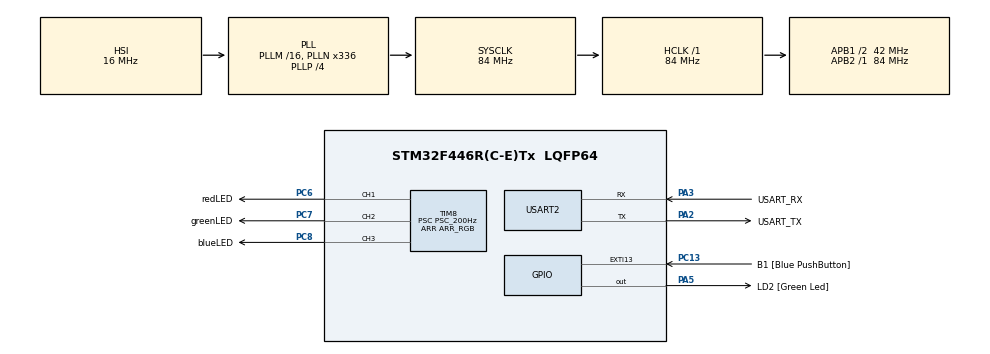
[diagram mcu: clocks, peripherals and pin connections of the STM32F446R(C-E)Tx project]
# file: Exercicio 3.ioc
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Mcu.Family=STM32F4
Mcu.Name=STM32F446R(C-E)Tx
Mcu.Package=LQFP64
Mcu.UserConstants=PSC_5Hz,(65536-1);PSC_200Hz,(1647-1);ARR_RGB,(255-1);PSC_SMPL,(1000-1);ARR_SMPL,(840-1)
NVIC.PriorityGroup=NVIC_PRIORITYGROUP_0
NVIC.TIM1_UP_TIM10_IRQn=true\:0\:0\:false\:false\:true\:true\:true\:true
NVIC.USART2_IRQn=true\:0\:0\:false\:false\:true\:true\:true\:true
PA13.GPIO_Label=TMS
PA13.Mode=Serial_Wire
PA13.Signal=SYS_JTMS-SWDIO
PA14.GPIO_Label=TCK
PA14.Mode=Serial_Wire
PA14.Signal=SYS_JTCK-SWCLK
PA2.GPIO_Label=USART_TX
PA2.Mode=Asynchronous
PA2.Signal=USART2_TX
PA3.GPIO_Label=USART_RX
PA3.Mode=Asynchronous
PA3.Signal=USART2_RX
PA5.GPIO_Label=LD2 [Green Led]
PA5.Signal=GPIO_Output
PB3.GPIO_Label=SWO
PB3.Signal=SYS_JTDO-SWO
PC13.GPIO_Label=B1 [Blue PushButton]
PC13.GPIO_ModeDefaultEXTI=GPIO_MODE_IT_FALLING
PC13.Signal=GPXTI13
PC14-OSC32_IN.Mode=LSE-External-Oscillator
PC14-OSC32_IN.Signal=RCC_OSC32_IN
PC15-OSC32_OUT.Mode=LSE-External-Oscillator
PC15-OSC32_OUT.Signal=RCC_OSC32_OUT
PC6.GPIO_Label=redLED
PC6.Signal=S_TIM8_CH1
PC7.GPIO_Label=greenLED
PC7.Signal=S_TIM8_CH2
PC8.GPIO_Label=blueLED
PC8.Signal=S_TIM8_CH3
PH0-OSC_IN.Mode=HSE-External-Oscillator
PH0-OSC_IN.Signal=RCC_OSC_IN
PH1-OSC_OUT.Mode=HSE-External-Oscillator
PH1-OSC_OUT.Signal=RCC_OSC_OUT
ProjectManager.HeapSize=0x200
ProjectManager.StackSize=0x400
ProjectManager.TargetToolchain=STM32CubeIDE
RCC.48MHZClocksFreq_Value=84000000
RCC.AHBFreq_Value=84000000
RCC.APB1CLKDivider=RCC_HCLK_DIV2
RCC.APB1Freq_Value=42000000
RCC.APB1TimFreq_Value=84000000
RCC.APB2Freq_Value=84000000
RCC.APB2TimFreq_Value=84000000
RCC.CortexFreq_Value=84000000
RCC.FLatency-AdvancedSettings=FLASH_LATENCY_2
RCC.HCLKFreq_Value=84000000
RCC.HSE_VALUE=8000000
RCC.HSI_VALUE=16000000
RCC.PLLN=336
RCC.PLLP=RCC_PLLP_DIV4
RCC.SYSCLKFreq_VALUE=84000000
RCC.SYSCLKSource=RCC_SYSCLKSOURCE_PLLCLK
RCC.USBFreq_Value=168000000
RCC.VCOOutputFreq_Value=336000000
SH.S_TIM8_CH1.0=TIM8_CH1,PWM Generation1 CH1
SH.S_TIM8_CH2.0=TIM8_CH2,PWM Generation2 CH2
SH.S_TIM8_CH3.0=TIM8_CH3,PWM Generation3 CH3
TIM10.AutoReloadPreload=TIM_AUTORELOAD_PRELOAD_ENABLE
TIM10.Period=ARR_SMPL
TIM10.Prescaler=PSC_SMPL
TIM8.AutoReloadPreload=TIM_AUTORELOAD_PRELOAD_ENABLE
TIM8.Channel-PWM\ Generation1\ CH1=TIM_CHANNEL_1
TIM8.Channel-PWM\ Generation2\ CH2=TIM_CHANNEL_2
TIM8.Channel-PWM\ Generation3\ CH3=TIM_CHANNEL_3
TIM8.Period=ARR_RGB
TIM8.Prescaler=PSC_200Hz
TIM8.Pulse-PWM\ Generation1\ CH1=0
TIM8.Pulse-PWM\ Generation2\ CH2=0
TIM8.Pulse-PWM\ Generation3\ CH3=0
USART2.VirtualMode=VM_ASYNC
VP_TIM10_VS_ClockSourceINT.Mode=Enable_Timer
board=NUCLEO-F446RE

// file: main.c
/* USER CODE BEGIN Header */
/**
  ******************************************************************************
  * @file           : main.c
  * @brief          : Main program body
  ******************************************************************************
  * @attention
  *
  * Copyright (c) 2025 STMicroelectronics.
  * All rights reserved.
  *
  * This software is licensed under terms that can be found in the LICENSE file
  * in the root directory of this software component.
  * If no LICENSE file comes with this software, it is provided AS-IS.
  *
  ******************************************************************************
  */
/* USER CODE END Header */
#include "main.h"

/* USER CODE BEGIN Includes */
#include <math.h>
/* USER CODE END Includes */

/* USER CODE BEGIN PD */
#define greenFrequencyCoeficient 1.1
#define blueFrequencyCoeficient 0.8
/* USER CODE END PD */

TIM_HandleTypeDef htim8;
TIM_HandleTypeDef htim10;

UART_HandleTypeDef huart2;

/* USER CODE BEGIN PV */
unsigned int time=0;	//counts time in centi-seconds (cs)

int updateFlag=0;
/* USER CODE END PV */

void SystemClock_Config(void);
static void MX_GPIO_Init(void);
static void MX_USART2_UART_Init(void);
static void MX_TIM8_Init(void);
static void MX_TIM10_Init(void);
/* USER CODE BEGIN PFP */
void HAL_TIM_PeriodElapsedCallback(TIM_HandleTypeDef *htim);
void updateIntensities();
uint16_t intensityFunc(char colour);
/* USER CODE END PFP */

int main(void)
{

  /* MCU Configuration--------------------------------------------------------*/

  /* Reset of all peripherals, Initializes the Flash interface and the Systick. */
  HAL_Init();

  /* Configure the system clock */
  SystemClock_Config();

  /* Initialize all configured peripherals */
  MX_GPIO_Init();
  MX_USART2_UART_Init();
  MX_TIM8_Init();
  MX_TIM10_Init();
  /* USER CODE BEGIN 2 */
  HAL_TIM_Base_Start_IT(&htim10);	//start 10ms TIM10

  //start PWMs
  HAL_TIM_PWM_Start(&htim8, TIM_CHANNEL_1);
  HAL_TIM_PWM_Start(&htim8, TIM_CHANNEL_2);
  HAL_TIM_PWM_Start(&htim8, TIM_CHANNEL_3);
  /* USER CODE END 2 */

  /* Infinite loop */
  /* USER CODE BEGIN WHILE */
  while (1)
  {
	  while(!updateFlag);	//wait TIM10 flag

	  updateIntensities();

	  updateFlag = 0;	//restart flag
    /* USER CODE END WHILE */

  }
}

void SystemClock_Config(void)
{
  RCC_OscInitTypeDef RCC_OscInitStruct = {0};
  RCC_ClkInitTypeDef RCC_ClkInitStruct = {0};

  /** Configure the main internal regulator output voltage
  */
  __HAL_RCC_PWR_CLK_ENABLE();
  __HAL_PWR_VOLTAGESCALING_CONFIG(PWR_REGULATOR_VOLTAGE_SCALE3);

  /** Initializes the RCC Oscillators according to the specified parameters
  * in the RCC_OscInitTypeDef structure.
  */
  RCC_OscInitStruct.OscillatorType = RCC_OSCILLATORTYPE_HSI;
  RCC_OscInitStruct.HSIState = RCC_HSI_ON;
  RCC_OscInitStruct.HSICalibrationValue = RCC_HSICALIBRATION_DEFAULT;
  RCC_OscInitStruct.PLL.PLLState = RCC_PLL_ON;
  RCC_OscInitStruct.PLL.PLLSource = RCC_PLLSOURCE_HSI;
  RCC_OscInitStruct.PLL.PLLM = 16;
  RCC_OscInitStruct.PLL.PLLN = 336;
  RCC_OscInitStruct.PLL.PLLP = RCC_PLLP_DIV4;
  RCC_OscInitStruct.PLL.PLLQ = 2;
  RCC_OscInitStruct.PLL.PLLR = 2;
  if (HAL_RCC_OscConfig(&RCC_OscInitStruct) != HAL_OK)
  {
    Error_Handler();
  }

  /** Initializes the CPU, AHB and APB buses clocks
  */
  RCC_ClkInitStruct.ClockType = RCC_CLOCKTYPE_HCLK|RCC_CLOCKTYPE_SYSCLK
                              |RCC_CLOCKTYPE_PCLK1|RCC_CLOCKTYPE_PCLK2;
  RCC_ClkInitStruct.SYSCLKSource = RCC_SYSCLKSOURCE_PLLCLK;
  RCC_ClkInitStruct.AHBCLKDivider = RCC_SYSCLK_DIV1;
  RCC_ClkInitStruct.APB1CLKDivider = RCC_HCLK_DIV2;
  RCC_ClkInitStruct.APB2CLKDivider = RCC_HCLK_DIV1;

  if (HAL_RCC_ClockConfig(&RCC_ClkInitStruct, FLASH_LATENCY_2) != HAL_OK)
  {
    Error_Handler();
  }
}

static void MX_TIM8_Init(void)
{

  TIM_MasterConfigTypeDef sMasterConfig = {0};
  TIM_OC_InitTypeDef sConfigOC = {0};
  TIM_BreakDeadTimeConfigTypeDef sBreakDeadTimeConfig = {0};

  htim8.Instance = TIM8;
  htim8.Init.Prescaler = PSC_200Hz;
  htim8.Init.CounterMode = TIM_COUNTERMODE_UP;
  htim8.Init.Period = ARR_RGB;
  htim8.Init.ClockDivision = TIM_CLOCKDIVISION_DIV1;
  htim8.Init.RepetitionCounter = 0;
  htim8.Init.AutoReloadPreload = TIM_AUTORELOAD_PRELOAD_ENABLE;
  if (HAL_TIM_PWM_Init(&htim8) != HAL_OK)
  {
    Error_Handler();
  }
  sMasterConfig.MasterOutputTrigger = TIM_TRGO_RESET;
  sMasterConfig.MasterSlaveMode = TIM_MASTERSLAVEMODE_DISABLE;
  if (HAL_TIMEx_MasterConfigSynchronization(&htim8, &sMasterConfig) != HAL_OK)
  {
    Error_Handler();
  }
  sConfigOC.OCMode = TIM_OCMODE_PWM1;
  sConfigOC.Pulse = 0;
  sConfigOC.OCPolarity = TIM_OCPOLARITY_HIGH;
  sConfigOC.OCNPolarity = TIM_OCNPOLARITY_HIGH;
  sConfigOC.OCFastMode = TIM_OCFAST_DISABLE;
  sConfigOC.OCIdleState = TIM_OCIDLESTATE_RESET;
  sConfigOC.OCNIdleState = TIM_OCNIDLESTATE_RESET;
  if (HAL_TIM_PWM_ConfigChannel(&htim8, &sConfigOC, TIM_CHANNEL_1) != HAL_OK)
  {
    Error_Handler();
  }
  if (HAL_TIM_PWM_ConfigChannel(&htim8, &sConfigOC, TIM_CHANNEL_2) != HAL_OK)
  {
    Error_Handler();
  }
  if (HAL_TIM_PWM_ConfigChannel(&htim8, &sConfigOC, TIM_CHANNEL_3) != HAL_OK)
  {
    Error_Handler();
  }
  sBreakDeadTimeConfig.OffStateRunMode = TIM_OSSR_DISABLE;
  sBreakDeadTimeConfig.OffStateIDLEMode = TIM_OSSI_DISABLE;
  sBreakDeadTimeConfig.LockLevel = TIM_LOCKLEVEL_OFF;
  sBreakDeadTimeConfig.DeadTime = 0;
  sBreakDeadTimeConfig.BreakState = TIM_BREAK_DISABLE;
  sBreakDeadTimeConfig.BreakPolarity = TIM_BREAKPOLARITY_HIGH;
  sBreakDeadTimeConfig.AutomaticOutput = TIM_AUTOMATICOUTPUT_DISABLE;
  if (HAL_TIMEx_ConfigBreakDeadTime(&htim8, &sBreakDeadTimeConfig) != HAL_OK)
  {
    Error_Handler();
  }
  HAL_TIM_MspPostInit(&htim8);

}

static void MX_TIM10_Init(void)
{

  htim10.Instance = TIM10;
  htim10.Init.Prescaler = PSC_SMPL;
  htim10.Init.CounterMode = TIM_COUNTERMODE_UP;
  htim10.Init.Period = ARR_SMPL;
  htim10.Init.ClockDivision = TIM_CLOCKDIVISION_DIV1;
  htim10.Init.AutoReloadPreload = TIM_AUTORELOAD_PRELOAD_ENABLE;
  if (HAL_TIM_Base_Init(&htim10) != HAL_OK)
  {
    Error_Handler();
  }

}

static void MX_USART2_UART_Init(void)
{

  huart2.Instance = USART2;
  huart2.Init.BaudRate = 115200;
  huart2.Init.WordLength = UART_WORDLENGTH_8B;
  huart2.Init.StopBits = UART_STOPBITS_1;
  huart2.Init.Parity = UART_PARITY_NONE;
  huart2.Init.Mode = UART_MODE_TX_RX;
  huart2.Init.HwFlowCtl = UART_HWCONTROL_NONE;
  huart2.Init.OverSampling = UART_OVERSAMPLING_16;
  if (HAL_UART_Init(&huart2) != HAL_OK)
  {
    Error_Handler();
  }

}

static void MX_GPIO_Init(void)
{
  GPIO_InitTypeDef GPIO_InitStruct = {0};

  /* GPIO Ports Clock Enable */
  __HAL_RCC_GPIOC_CLK_ENABLE();
  __HAL_RCC_GPIOH_CLK_ENABLE();
  __HAL_RCC_GPIOA_CLK_ENABLE();
  __HAL_RCC_GPIOB_CLK_ENABLE();

  /*Configure GPIO pin Output Level */
  HAL_GPIO_WritePin(LD2_GPIO_Port, LD2_Pin, GPIO_PIN_RESET);

  /*Configure GPIO pin : B1_Pin */
  GPIO_InitStruct.Pin = B1_Pin;
  GPIO_InitStruct.Mode = GPIO_MODE_IT_FALLING;
  GPIO_InitStruct.Pull = GPIO_NOPULL;
  HAL_GPIO_Init(B1_GPIO_Port, &GPIO_InitStruct);

  /*Configure GPIO pin : LD2_Pin */
  GPIO_InitStruct.Pin = LD2_Pin;
  GPIO_InitStruct.Mode = GPIO_MODE_OUTPUT_PP;
  GPIO_InitStruct.Pull = GPIO_NOPULL;
  GPIO_InitStruct.Speed = GPIO_SPEED_FREQ_LOW;
  HAL_GPIO_Init(LD2_GPIO_Port, &GPIO_InitStruct);

}

/* USER CODE BEGIN 4 */
void HAL_TIM_PeriodElapsedCallback(TIM_HandleTypeDef *htim){
	if (htim->Instance == TIM10){
		time++;
		updateFlag = 1;
	}
}

void updateIntensities(){
	HAL_TIM_PWM_Stop(&htim8, TIM_CHANNEL_1);	//stop timer to change settings
	TIM8->CCR1 = intensityFunc('r');			//change red LED's CCR (duty cycle/intensity)
	HAL_TIM_PWM_Start(&htim8, TIM_CHANNEL_1);	//restart timer

	HAL_TIM_PWM_Stop(&htim8, TIM_CHANNEL_2);
	TIM8->CCR2 = intensityFunc('g');
	HAL_TIM_PWM_Start(&htim8, TIM_CHANNEL_2);

	HAL_TIM_PWM_Stop(&htim8, TIM_CHANNEL_3);
	TIM8->CCR3 = intensityFunc('b');
	HAL_TIM_PWM_Start(&htim8, TIM_CHANNEL_3);
}

uint16_t intensityFunc(char colour){
	double aux;

	aux = (M_PI/250)*time;
	if(colour == 'g')		aux *= greenFrequencyCoeficient;
	else if(colour == 'b')	aux *= blueFrequencyCoeficient;
	aux = -127.5*cos(aux);
	aux += 127.5;

	return (uint16_t)round(aux);
}
/* USER CODE END 4 */

void Error_Handler(void)
{
  __disable_irq();
  while (1)
  {
  }
}
